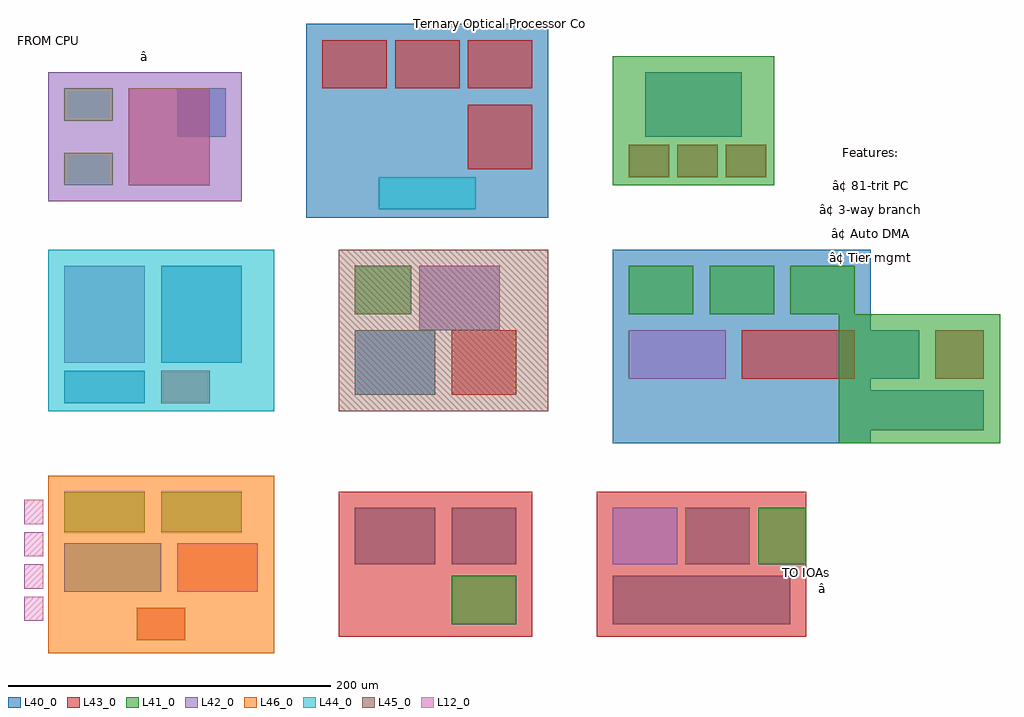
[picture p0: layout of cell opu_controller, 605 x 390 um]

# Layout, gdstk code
import gdstk
lib = gdstk.Library(unit=1e-6, precision=1e-09)
def R(c, l, rs):  # rectangles x0, y0, x1, y1
    for r in rs: c.add(gdstk.rectangle(r[:2], r[2:], *l))
L12_0 = (12, 0)
L40_0 = (40, 0)
L41_0 = (41, 0)
L42_0 = (42, 0)
L43_0 = (43, 0)
L44_0 = (44, 0)
L45_0 = (45, 0)
L46_0 = (46, 0)

rectangle_gdsfactorypcom = lib.new_cell('rectangle_gdsfactorypcomponentspshapesprectangle_S120_8_5033b2cd')
R(rectangle_gdsfactorypcom, L42_0, [(0,0,120,80)])

c_rectangle_gdsfactorypcom = lib.new_cell('rectangle_gdsfactorypcomponentspshapesprectangle_S30_20_f285a211')
R(c_rectangle_gdsfactorypcom, L41_0, [(0,0,30,20)])

c_rectangle_gdsfactorypcom_ = lib.new_cell('rectangle_gdsfactorypcomponentspshapesprectangle_S50_60_bc606d28')
R(c_rectangle_gdsfactorypcom_, L43_0, [(0,0,50,60)])

c_rectangle_gdsfactorypcom__ = lib.new_cell('rectangle_gdsfactorypcomponentspshapesprectangle_S30_30_ca2e587b')
R(c_rectangle_gdsfactorypcom__, L40_0, [(0,0,30,30)])

command_queue_d64_w162 = lib.new_cell('command_queue_D64_W162')
command_queue_d64_w162.add(gdstk.Reference(rectangle_gdsfactorypcom, (0,0)))
command_queue_d64_w162.add(gdstk.Reference(c_rectangle_gdsfactorypcom, (10,50)))
command_queue_d64_w162.add(gdstk.Reference(c_rectangle_gdsfactorypcom, (10,10)))
command_queue_d64_w162.add(gdstk.Reference(c_rectangle_gdsfactorypcom_, (50,10)))
command_queue_d64_w162.add(gdstk.Reference(c_rectangle_gdsfactorypcom__, (80,40)))
command_queue_d64_w162.add(gdstk.Label('WR', (25,60), layer=100, texttype=0))
command_queue_d64_w162.add(gdstk.Label('RD', (25,20), layer=100, texttype=0))
command_queue_d64_w162.add(gdstk.Label('FIFO', (75,40), layer=100, texttype=0))
command_queue_d64_w162.add(gdstk.Label('E/F', (95,55), layer=100, texttype=0))
command_queue_d64_w162.add(gdstk.Label('CMD QUEUE (64)', (60,90), layer=100, texttype=0))

c_rectangle_gdsfactorypcom___ = lib.new_cell('rectangle_gdsfactorypcomponentspshapesprectangle_S150_1_40e1055d')
R(c_rectangle_gdsfactorypcom___, L40_0, [(0,0,150,120)])

c_rectangle_gdsfactorypcom____ = lib.new_cell('rectangle_gdsfactorypcomponentspshapesprectangle_S40_30_6b7985db')
R(c_rectangle_gdsfactorypcom____, L43_0, [(0,0,40,30)])

c_rectangle_gdsfactorypcom_____ = lib.new_cell('rectangle_gdsfactorypcomponentspshapesprectangle_S80_40_2c707923')
R(c_rectangle_gdsfactorypcom_____, L40_0, [(0,0,80,40)])

c_rectangle_gdsfactorypcom______ = lib.new_cell('rectangle_gdsfactorypcomponentspshapesprectangle_S40_40_3ff1fcf0')
R(c_rectangle_gdsfactorypcom______, L43_0, [(0,0,40,40)])

c_rectangle_gdsfactorypcom_______ = lib.new_cell('rectangle_gdsfactorypcomponentspshapesprectangle_S60_20_cc67e96a')
R(c_rectangle_gdsfactorypcom_______, L44_0, [(0,0,60,20)])

ternary_instruction_deco = lib.new_cell('ternary_instruction_decoder')
ternary_instruction_deco.add(gdstk.Reference(c_rectangle_gdsfactorypcom___, (0,0)))
ternary_instruction_deco.add(gdstk.Reference(c_rectangle_gdsfactorypcom____, (10,80)))
ternary_instruction_deco.add(gdstk.Reference(c_rectangle_gdsfactorypcom____, (55,80)))
ternary_instruction_deco.add(gdstk.Reference(c_rectangle_gdsfactorypcom____, (100,80)))
ternary_instruction_deco.add(gdstk.Reference(c_rectangle_gdsfactorypcom_____, (10,30)))
ternary_instruction_deco.add(gdstk.Reference(c_rectangle_gdsfactorypcom______, (100,30)))
ternary_instruction_deco.add(gdstk.Reference(c_rectangle_gdsfactorypcom_______, (45,5)))
ternary_instruction_deco.add(gdstk.Label('OPCODE', (30,95), layer=100, texttype=0))
ternary_instruction_deco.add(gdstk.Label('[2:0]', (30,85), layer=100, texttype=0))
ternary_instruction_deco.add(gdstk.Label('OP_A', (75,95), layer=100, texttype=0))
ternary_instruction_deco.add(gdstk.Label('[29:3]', (75,85), layer=100, texttype=0))
ternary_instruction_deco.add(gdstk.Label('OP_B', (120,95), layer=100, texttype=0))
ternary_instruction_deco.add(gdstk.Label('[56:30]', (120,85), layer=100, texttype=0))
ternary_instruction_deco.add(gdstk.Label('CONTROL', (50,50), layer=100, texttype=0))
ternary_instruction_deco.add(gdstk.Label('SIGNALS', (50,40), layer=100, texttype=0))
ternary_instruction_deco.add(gdstk.Label('IMM', (120,50), layer=100, texttype=0))
ternary_instruction_deco.add(gdstk.Label('BR3 DEC', (75,15), layer=100, texttype=0))
ternary_instruction_deco.add(gdstk.Label('TERNARY INSTR DECODER', (75,130), layer=100, texttype=0))

c_rectangle_gdsfactorypcom________ = lib.new_cell('rectangle_gdsfactorypcomponentspshapesprectangle_S100_8_51a3492c')
R(c_rectangle_gdsfactorypcom________, L41_0, [(0,0,100,80)])

c_rectangle_gdsfactorypcom_________ = lib.new_cell('rectangle_gdsfactorypcomponentspshapesprectangle_S60_40_bd4ab479')
R(c_rectangle_gdsfactorypcom_________, L40_0, [(0,0,60,40)])

c_rectangle_gdsfactorypcom__________ = lib.new_cell('rectangle_gdsfactorypcomponentspshapesprectangle_S25_20_ce34d6d4')
R(c_rectangle_gdsfactorypcom__________, L43_0, [(0,0,25,20)])

program_counter_81trit = lib.new_cell('program_counter_81trit')
program_counter_81trit.add(gdstk.Reference(c_rectangle_gdsfactorypcom________, (0,0)))
program_counter_81trit.add(gdstk.Reference(c_rectangle_gdsfactorypcom_________, (20,30)))
program_counter_81trit.add(gdstk.Reference(c_rectangle_gdsfactorypcom__________, (10,5)))
program_counter_81trit.add(gdstk.Reference(c_rectangle_gdsfactorypcom__________, (40,5)))
program_counter_81trit.add(gdstk.Reference(c_rectangle_gdsfactorypcom__________, (70,5)))
program_counter_81trit.add(gdstk.Label('PC', (50,50), layer=100, texttype=0))
program_counter_81trit.add(gdstk.Label('[80:0]', (50,40), layer=100, texttype=0))
program_counter_81trit.add(gdstk.Label('+1', (22,15), layer=100, texttype=0))
program_counter_81trit.add(gdstk.Label('LD', (52,15), layer=100, texttype=0))
program_counter_81trit.add(gdstk.Label('BR', (82,15), layer=100, texttype=0))
program_counter_81trit.add(gdstk.Label('PROGRAM COUNTER', (50,90), layer=100, texttype=0))
program_counter_81trit.add(gdstk.Label('81-trit', (50,102), layer=100, texttype=0))

c_rectangle_gdsfactorypcom___________ = lib.new_cell('rectangle_gdsfactorypcomponentspshapesprectangle_S140_1_903e7501')
R(c_rectangle_gdsfactorypcom___________, L44_0, [(0,0,140,100)])

c_rectangle_gdsfactorypcom____________ = lib.new_cell('rectangle_gdsfactorypcomponentspshapesprectangle_S50_60_93e3b9be')
R(c_rectangle_gdsfactorypcom____________, L42_0, [(0,0,50,60)])

c_rectangle_gdsfactorypcom_____________ = lib.new_cell('rectangle_gdsfactorypcomponentspshapesprectangle_S50_60_52eec479')
R(c_rectangle_gdsfactorypcom_____________, L40_0, [(0,0,50,60)])

c_rectangle_gdsfactorypcom______________ = lib.new_cell('rectangle_gdsfactorypcomponentspshapesprectangle_S30_20_d5b0c8f8')
R(c_rectangle_gdsfactorypcom______________, L43_0, [(0,0,30,20)])

c_rectangle_gdsfactorypcom_______________ = lib.new_cell('rectangle_gdsfactorypcomponentspshapesprectangle_S50_20_32204194')
R(c_rectangle_gdsfactorypcom_______________, L40_0, [(0,0,50,20)])

ternary_branch_predictor = lib.new_cell('ternary_branch_predictor_E64')
ternary_branch_predictor.add(gdstk.Reference(c_rectangle_gdsfactorypcom___________, (0,0)))
ternary_branch_predictor.add(gdstk.Reference(c_rectangle_gdsfactorypcom____________, (10,30)))
ternary_branch_predictor.add(gdstk.Reference(c_rectangle_gdsfactorypcom_____________, (70,30)))
ternary_branch_predictor.add(gdstk.Reference(c_rectangle_gdsfactorypcom______________, (70,5)))
ternary_branch_predictor.add(gdstk.Reference(c_rectangle_gdsfactorypcom_______________, (10,5)))
ternary_branch_predictor.add(gdstk.Label('BTB', (35,60), layer=100, texttype=0))
ternary_branch_predictor.add(gdstk.Label('64', (35,50), layer=100, texttype=0))
ternary_branch_predictor.add(gdstk.Label('3-STATE', (95,60), layer=100, texttype=0))
ternary_branch_predictor.add(gdstk.Label('PRED', (95,50), layer=100, texttype=0))
ternary_branch_predictor.add(gdstk.Label('-/0/+', (85,15), layer=100, texttype=0))
ternary_branch_predictor.add(gdstk.Label('UPDATE', (35,15), layer=100, texttype=0))
ternary_branch_predictor.add(gdstk.Label('TERNARY BRANCH PREDICTOR', (70,110), layer=100, texttype=0))
ternary_branch_predictor.add(gdstk.Label('3-way prediction!', (70,122), layer=100, texttype=0))

c_rectangle_gdsfactorypcom________________ = lib.new_cell('rectangle_gdsfactorypcomponentspshapesprectangle_S130_1_2ae6d950')
R(c_rectangle_gdsfactorypcom________________, L45_0, [(0,0,130,100)])

c_rectangle_gdsfactorypcom_________________ = lib.new_cell('rectangle_gdsfactorypcomponentspshapesprectangle_S35_30_2c915ff7')
R(c_rectangle_gdsfactorypcom_________________, L41_0, [(0,0,35,30)])

c_rectangle_gdsfactorypcom__________________ = lib.new_cell('rectangle_gdsfactorypcomponentspshapesprectangle_S50_40_351e6a1e')
R(c_rectangle_gdsfactorypcom__________________, L42_0, [(0,0,50,40)])

c_rectangle_gdsfactorypcom___________________ = lib.new_cell('rectangle_gdsfactorypcomponentspshapesprectangle_S50_40_6492ff57')
R(c_rectangle_gdsfactorypcom___________________, L40_0, [(0,0,50,40)])

multi_cycle_sequencer = lib.new_cell('multi_cycle_sequencer')
multi_cycle_sequencer.add(gdstk.Reference(c_rectangle_gdsfactorypcom________________, (0,0)))
multi_cycle_sequencer.add(gdstk.Reference(c_rectangle_gdsfactorypcom_________________, (10,60)))
multi_cycle_sequencer.add(gdstk.Reference(c_rectangle_gdsfactorypcom__________________, (50,50)))
multi_cycle_sequencer.add(gdstk.Reference(c_rectangle_gdsfactorypcom___________________, (10,10)))
multi_cycle_sequencer.add(gdstk.Reference(c_rectangle_gdsfactorypcom______, (70,10)))
multi_cycle_sequencer.add(gdstk.Label('CYC', (27,75), layer=100, texttype=0))
multi_cycle_sequencer.add(gdstk.Label('uOP', (75,70), layer=100, texttype=0))
multi_cycle_sequencer.add(gdstk.Label('ROM', (75,60), layer=100, texttype=0))
multi_cycle_sequencer.add(gdstk.Label('FSM', (35,30), layer=100, texttype=0))
multi_cycle_sequencer.add(gdstk.Label('uOP', (90,30), layer=100, texttype=0))
multi_cycle_sequencer.add(gdstk.Label('OUT', (90,20), layer=100, texttype=0))
multi_cycle_sequencer.add(gdstk.Label('SEQUENCER', (65,110), layer=100, texttype=0))

c_rectangle_gdsfactorypcom____________________ = lib.new_cell('rectangle_gdsfactorypcomponentspshapesprectangle_S160_1_ffc62894')
R(c_rectangle_gdsfactorypcom____________________, L40_0, [(0,0,160,120)])

c_rectangle_gdsfactorypcom_____________________ = lib.new_cell('rectangle_gdsfactorypcomponentspshapesprectangle_S40_30_20173fad')
R(c_rectangle_gdsfactorypcom_____________________, L41_0, [(0,0,40,30)])

c_rectangle_gdsfactorypcom______________________ = lib.new_cell('rectangle_gdsfactorypcomponentspshapesprectangle_S60_30_5bdba919')
R(c_rectangle_gdsfactorypcom______________________, L42_0, [(0,0,60,30)])

c_rectangle_gdsfactorypcom_______________________ = lib.new_cell('rectangle_gdsfactorypcomponentspshapesprectangle_S70_30_05502c27')
R(c_rectangle_gdsfactorypcom_______________________, L43_0, [(0,0,70,30)])

c_rectangle_gdsfactorypcom________________________ = lib.new_cell('rectangle_gdsfactorypcomponentspshapesprectangle_S140_2_fdb32f56')
R(c_rectangle_gdsfactorypcom________________________, L40_0, [(0,0,140,25)])

tier_register_allocator = lib.new_cell('tier_register_allocator')
tier_register_allocator.add(gdstk.Reference(c_rectangle_gdsfactorypcom____________________, (0,0)))
tier_register_allocator.add(gdstk.Reference(c_rectangle_gdsfactorypcom_____________________, (10,80)))
tier_register_allocator.add(gdstk.Reference(c_rectangle_gdsfactorypcom_____________________, (60,80)))
tier_register_allocator.add(gdstk.Reference(c_rectangle_gdsfactorypcom_____________________, (110,80)))
tier_register_allocator.add(gdstk.Reference(c_rectangle_gdsfactorypcom______________________, (10,40)))
tier_register_allocator.add(gdstk.Reference(c_rectangle_gdsfactorypcom_______________________, (80,40)))
tier_register_allocator.add(gdstk.Reference(c_rectangle_gdsfactorypcom________________________, (10,8)))
tier_register_allocator.add(gdstk.Label('T1:4', (30,95), layer=100, texttype=0))
tier_register_allocator.add(gdstk.Label('HOT', (30,85), layer=100, texttype=0))
tier_register_allocator.add(gdstk.Label('T2:16', (80,95), layer=100, texttype=0))
tier_register_allocator.add(gdstk.Label('WORK', (80,85), layer=100, texttype=0))
tier_register_allocator.add(gdstk.Label('T3:32', (130,95), layer=100, texttype=0))
tier_register_allocator.add(gdstk.Label('PARK', (130,85), layer=100, texttype=0))
tier_register_allocator.add(gdstk.Label('FREE LIST', (40,55), layer=100, texttype=0))
tier_register_allocator.add(gdstk.Label('SPILL/FILL', (115,55), layer=100, texttype=0))
tier_register_allocator.add(gdstk.Label('LRU TRACKER', (80,20), layer=100, texttype=0))
tier_register_allocator.add(gdstk.Label('REGISTER ALLOCATOR', (80,130), layer=100, texttype=0))

c_rectangle_gdsfactorypcom_________________________ = lib.new_cell('rectangle_gdsfactorypcomponentspshapesprectangle_S140_1_086c9811')
R(c_rectangle_gdsfactorypcom_________________________, L46_0, [(0,0,140,110)])

c_rectangle_gdsfactorypcom__________________________ = lib.new_cell('rectangle_gdsfactorypcomponentspshapesprectangle_S50_25_dcfc7947')
R(c_rectangle_gdsfactorypcom__________________________, L41_0, [(0,0,50,25)])

c_rectangle_gdsfactorypcom___________________________ = lib.new_cell('rectangle_gdsfactorypcomponentspshapesprectangle_S60_30_45c30077')
R(c_rectangle_gdsfactorypcom___________________________, L40_0, [(0,0,60,30)])

c_rectangle_gdsfactorypcom____________________________ = lib.new_cell('rectangle_gdsfactorypcomponentspshapesprectangle_S50_30_3899bb22')
R(c_rectangle_gdsfactorypcom____________________________, L43_0, [(0,0,50,30)])

c_rectangle_gdsfactorypcom_____________________________ = lib.new_cell('rectangle_gdsfactorypcomponentspshapesprectangle_S12_15_8d11ea70')
R(c_rectangle_gdsfactorypcom_____________________________, L12_0, [(0,0,12,15)])

interrupt_controller_ns1 = lib.new_cell('interrupt_controller_NS16')
interrupt_controller_ns1.add(gdstk.Reference(c_rectangle_gdsfactorypcom_________________________, (0,0)))
interrupt_controller_ns1.add(gdstk.Reference(c_rectangle_gdsfactorypcom__________________________, (10,75)))
interrupt_controller_ns1.add(gdstk.Reference(c_rectangle_gdsfactorypcom__________________________, (70,75)))
interrupt_controller_ns1.add(gdstk.Reference(c_rectangle_gdsfactorypcom___________________________, (10,38)))
interrupt_controller_ns1.add(gdstk.Reference(c_rectangle_gdsfactorypcom____________________________, (80,38)))
interrupt_controller_ns1.add(gdstk.Reference(c_rectangle_gdsfactorypcom_____________________________, (-15,20)))
interrupt_controller_ns1.add(gdstk.Reference(c_rectangle_gdsfactorypcom_____________________________, (-15,40)))
interrupt_controller_ns1.add(gdstk.Reference(c_rectangle_gdsfactorypcom_____________________________, (-15,60)))
interrupt_controller_ns1.add(gdstk.Reference(c_rectangle_gdsfactorypcom_____________________________, (-15,80)))
interrupt_controller_ns1.add(gdstk.Reference(c_rectangle_gdsfactorypcom______________, (55,8)))
interrupt_controller_ns1.add(gdstk.Label('PENDING', (35,87), layer=100, texttype=0))
interrupt_controller_ns1.add(gdstk.Label('ENABLE', (95,87), layer=100, texttype=0))
interrupt_controller_ns1.add(gdstk.Label('TERNARY', (40,53), layer=100, texttype=0))
interrupt_controller_ns1.add(gdstk.Label('PRIORITY', (40,45), layer=100, texttype=0))
interrupt_controller_ns1.add(gdstk.Label('VECTOR', (105,53), layer=100, texttype=0))
interrupt_controller_ns1.add(gdstk.Label('ELEC', (-25,85), layer=100, texttype=0))
interrupt_controller_ns1.add(gdstk.Label('NET', (-25,65), layer=100, texttype=0))
interrupt_controller_ns1.add(gdstk.Label('SENS', (-25,45), layer=100, texttype=0))
interrupt_controller_ns1.add(gdstk.Label('STOR', (-25,25), layer=100, texttype=0))
interrupt_controller_ns1.add(gdstk.Label('ACK', (70,18), layer=100, texttype=0))
interrupt_controller_ns1.add(gdstk.Label('INTERRUPT CONTROLLER', (70,120), layer=100, texttype=0))

c_rectangle_gdsfactorypcom______________________________ = lib.new_cell('rectangle_gdsfactorypcomponentspshapesprectangle_S120_9_b6680095')
R(c_rectangle_gdsfactorypcom______________________________, L43_0, [(0,0,120,90)])

c_rectangle_gdsfactorypcom_______________________________ = lib.new_cell('rectangle_gdsfactorypcomponentspshapesprectangle_S50_35_1ff6a25c')
R(c_rectangle_gdsfactorypcom_______________________________, L40_0, [(0,0,50,35)])

c_rectangle_gdsfactorypcom________________________________ = lib.new_cell('rectangle_gdsfactorypcomponentspshapesprectangle_S40_35_3d166a9d')
R(c_rectangle_gdsfactorypcom________________________________, L40_0, [(0,0,40,35)])

alu_interface = lib.new_cell('alu_interface')
alu_interface.add(gdstk.Reference(c_rectangle_gdsfactorypcom______________________________, (0,0)))
alu_interface.add(gdstk.Reference(c_rectangle_gdsfactorypcom_______________________________, (10,45)))
alu_interface.add(gdstk.Reference(c_rectangle_gdsfactorypcom________________________________, (70,45)))
alu_interface.add(gdstk.Reference(c_rectangle_gdsfactorypcom____________________________, (10,8)))
alu_interface.add(gdstk.Reference(c_rectangle_gdsfactorypcom_____________________, (70,8)))
alu_interface.add(gdstk.Label('OP DEC', (35,62), layer=100, texttype=0))
alu_interface.add(gdstk.Label('LIN/LOG', (90,62), layer=100, texttype=0))
alu_interface.add(gdstk.Label('TIMING', (35,23), layer=100, texttype=0))
alu_interface.add(gdstk.Label('STATUS', (90,23), layer=100, texttype=0))
alu_interface.add(gdstk.Label('ALU INTERFACE', (60,100), layer=100, texttype=0))

c_rectangle_gdsfactorypcom_________________________________ = lib.new_cell('rectangle_gdsfactorypcomponentspshapesprectangle_S130_9_f3d78a0b')
R(c_rectangle_gdsfactorypcom_________________________________, L43_0, [(0,0,130,90)])

c_rectangle_gdsfactorypcom__________________________________ = lib.new_cell('rectangle_gdsfactorypcomponentspshapesprectangle_S40_35_1ca75888')
R(c_rectangle_gdsfactorypcom__________________________________, L42_0, [(0,0,40,35)])

c_rectangle_gdsfactorypcom___________________________________ = lib.new_cell('rectangle_gdsfactorypcomponentspshapesprectangle_S30_35_d54d9f37')
R(c_rectangle_gdsfactorypcom___________________________________, L41_0, [(0,0,30,35)])

c_rectangle_gdsfactorypcom____________________________________ = lib.new_cell('rectangle_gdsfactorypcomponentspshapesprectangle_S110_3_7fd4a350')
R(c_rectangle_gdsfactorypcom____________________________________, L40_0, [(0,0,110,30)])

opu_dma_controller = lib.new_cell('opu_dma_controller')
opu_dma_controller.add(gdstk.Reference(c_rectangle_gdsfactorypcom_________________________________, (0,0)))
opu_dma_controller.add(gdstk.Reference(c_rectangle_gdsfactorypcom__________________________________, (10,45)))
opu_dma_controller.add(gdstk.Reference(c_rectangle_gdsfactorypcom________________________________, (55,45)))
opu_dma_controller.add(gdstk.Reference(c_rectangle_gdsfactorypcom___________________________________, (100,45)))
opu_dma_controller.add(gdstk.Reference(c_rectangle_gdsfactorypcom____________________________________, (10,8)))
opu_dma_controller.add(gdstk.Label('DESC', (30,62), layer=100, texttype=0))
opu_dma_controller.add(gdstk.Label('ADDR', (75,62), layer=100, texttype=0))
opu_dma_controller.add(gdstk.Label('CNT', (115,62), layer=100, texttype=0))
opu_dma_controller.add(gdstk.Label('CHANNEL ARBITER', (65,23), layer=100, texttype=0))
opu_dma_controller.add(gdstk.Label('DMA CONTROLLER', (65,100), layer=100, texttype=0))

c_rectangle_gdsfactorypcom_____________________________________ = lib.new_cell('rectangle_gdsfactorypcomponentspshapesprectangle_S40_30_483c9bb4')
R(c_rectangle_gdsfactorypcom_____________________________________, L40_0, [(0,0,40,30)])

c_rectangle_gdsfactorypcom______________________________________ = lib.new_cell('rectangle_gdsfactorypcomponentspshapesprectangle_S30_30_134d68a6')
R(c_rectangle_gdsfactorypcom______________________________________, L43_0, [(0,0,30,30)])

c_rectangle_gdsfactorypcom_______________________________________ = lib.new_cell('rectangle_gdsfactorypcomponentspshapesprectangle_S80_25_bb53f2ee')
R(c_rectangle_gdsfactorypcom_______________________________________, L40_0, [(0,0,80,25)])

status_register_file = lib.new_cell('status_register_file')
status_register_file.add(gdstk.Reference(c_rectangle_gdsfactorypcom________, (0,0)))
status_register_file.add(gdstk.Reference(c_rectangle_gdsfactorypcom_____________________________________, (10,40)))
status_register_file.add(gdstk.Reference(c_rectangle_gdsfactorypcom______________________________________, (60,40)))
status_register_file.add(gdstk.Reference(c_rectangle_gdsfactorypcom_______________________________________, (10,8)))
status_register_file.add(gdstk.Label('N Z P', (30,55), layer=100, texttype=0))
status_register_file.add(gdstk.Label('C O', (30,45), layer=100, texttype=0))
status_register_file.add(gdstk.Label('MODE', (75,55), layer=100, texttype=0))
status_register_file.add(gdstk.Label('EXCEPTION STATUS', (50,20), layer=100, texttype=0))
status_register_file.add(gdstk.Label('STATUS REGS', (50,90), layer=100, texttype=0))

opu_controller = lib.new_cell('opu_controller')
opu_controller.add(gdstk.Reference(command_queue_d64_w162, (20,350)))
opu_controller.add(gdstk.Reference(ternary_instruction_deco, (180,340)))
opu_controller.add(gdstk.Reference(program_counter_81trit, (370,360)))
opu_controller.add(gdstk.Reference(ternary_branch_predictor, (20,220)))
opu_controller.add(gdstk.Reference(multi_cycle_sequencer, (200,220)))
opu_controller.add(gdstk.Reference(tier_register_allocator, (370,200)))
opu_controller.add(gdstk.Reference(interrupt_controller_ns1, (20,70)))
opu_controller.add(gdstk.Reference(alu_interface, (200,80)))
opu_controller.add(gdstk.Reference(opu_dma_controller, (360,80)))
opu_controller.add(gdstk.Reference(status_register_file, (510,200)))
opu_controller.add(gdstk.Label('OPU CONTROLLER', (300,480), layer=100, texttype=0))
opu_controller.add(gdstk.Label('Ternary Optical Processor Control Unit', (300,460), layer=100, texttype=0))
opu_controller.add(gdstk.Label('FROM CPU', (20,450), layer=100, texttype=0))
opu_controller.add(gdstk.Label('â\x86\x93', (80,440), layer=100, texttype=0))
opu_controller.add(gdstk.Label('TO IOC/ALU', (300,50), layer=100, texttype=0))
opu_controller.add(gdstk.Label('â\x86\x93', (300,40), layer=100, texttype=0))
opu_controller.add(gdstk.Label('TO IOAs', (490,120), layer=100, texttype=0))
opu_controller.add(gdstk.Label('â\x86\x92', (500,110), layer=100, texttype=0))
opu_controller.add(gdstk.Label('Features:', (530,380), layer=100, texttype=0))
opu_controller.add(gdstk.Label('â\x80¢ 81-trit PC', (530,360), layer=100, texttype=0))
opu_controller.add(gdstk.Label('â\x80¢ 3-way branch', (530,345), layer=100, texttype=0))
opu_controller.add(gdstk.Label('â\x80¢ Auto DMA', (530,330), layer=100, texttype=0))
opu_controller.add(gdstk.Label('â\x80¢ Tier mgmt', (530,315), layer=100, texttype=0))

lib.write_gds('opu_controller.gds')
